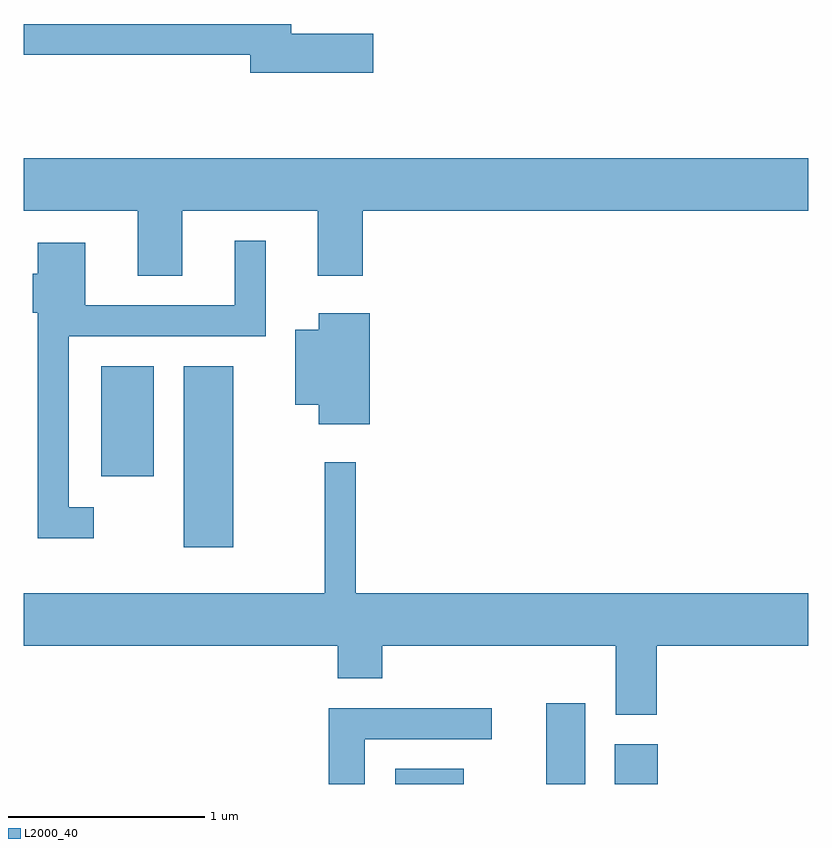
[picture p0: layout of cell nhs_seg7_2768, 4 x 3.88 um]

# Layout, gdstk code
import gdstk
lib = gdstk.Library(unit=1e-6, precision=1e-09)
def R(c, l, rs):  # rectangles x0, y0, x1, y1
    for r in rs: c.add(gdstk.rectangle(r[:2], r[2:], *l))
def P(c, l, *ps):  # polygons
    for p in ps: c.add(gdstk.Polygon(p, *l))
L2000_40 = (2000, 40)

nhs_seg7_2768 = lib.new_cell('nhs_seg7_2768')
R(nhs_seg7_2768, L2000_40, [(271.506,1740.252,271.854,1740.329), (272.276,1740.252,272.474,1740.664), (272.626,1740.252,272.844,1740.454), (270.426,1741.461,270.679,1742.384), (270.006,1741.821,270.274,1742.384)])
P(nhs_seg7_2768, L2000_40, [(271.394,1744.079),(270.974,1744.079),(270.974,1744.129),(269.611,1744.129),(269.611,1743.971),(270.766,1743.971),(270.766,1743.881),(271.394,1743.881)],
  [(270.419,1743.176),(271.111,1743.176),(271.111,1742.846),(271.339,1742.846),(271.339,1743.176),(273.611,1743.176),(273.611,1743.444),(269.611,1743.444),(269.611,1743.176),(270.191,1743.176),(270.191,1742.846),(270.419,1742.846)],
  [(269.968,1741.664),(269.839,1741.664),(269.839,1742.536),(270.844,1742.536),(270.844,1743.023),(270.686,1743.023),(270.686,1742.694),(269.924,1742.694),(269.924,1743.014),(269.681,1743.014),(269.681,1742.854),(269.656,1742.854),(269.656,1742.656),(269.681,1742.656),(269.681,1741.506),(269.968,1741.506)],
  [(271.374,1742.654),(271.116,1742.654),(271.116,1742.569),(270.996,1742.569),(270.996,1742.186),(271.116,1742.186),(271.116,1742.086),(271.374,1742.086)],
  [(272.839,1740.956),(273.611,1740.956),(273.611,1741.224),(271.304,1741.224),(271.304,1741.893),(271.146,1741.893),(271.146,1741.224),(269.611,1741.224),(269.611,1740.956),(271.211,1740.956),(271.211,1740.791),(271.439,1740.791),(271.439,1740.956),(272.631,1740.956),(272.631,1740.606),(272.839,1740.606)],
  [(271.349,1740.481),(271.998,1740.481),(271.998,1740.639),(271.166,1740.639),(271.166,1740.252),(271.349,1740.252)])

lib.write_gds('nhs_seg7_2768.gds')
